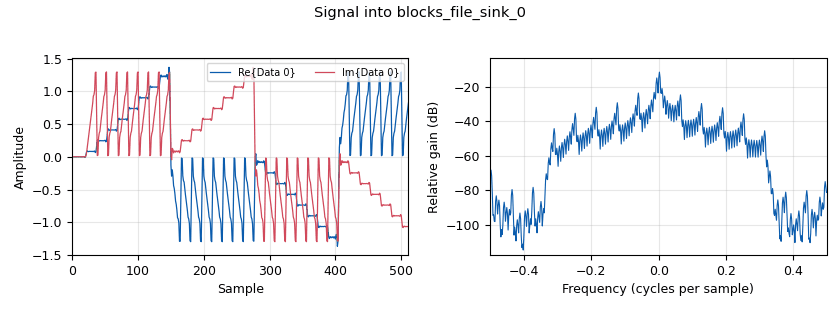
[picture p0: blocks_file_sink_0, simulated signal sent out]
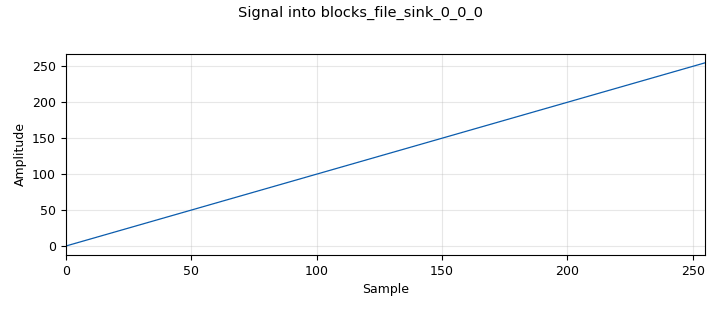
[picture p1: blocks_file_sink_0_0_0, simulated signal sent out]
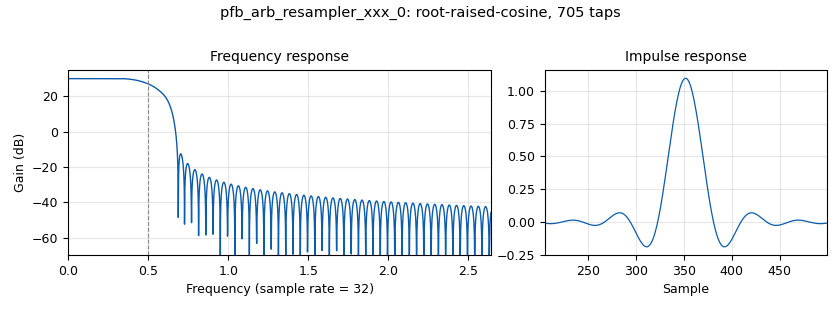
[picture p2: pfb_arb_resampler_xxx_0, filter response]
<?xml version='1.0' encoding='utf-8'?>
<?grc format='1' created='3.7.13'?>
<flow_graph>
<block>
<key>options</key>
<param><key>id</key><value>top_block</value></param>
<param><key>generate_options</key><value>no_gui</value></param>
<param><key>run_options</key><value>run</value></param>
</block>
<block>
<key>variable</key>
<param><key>id</key><value>exbw</value></param>
<param><key>value</key><value>.35</value></param>
</block>
<block>
<key>variable</key>
<param><key>id</key><value>fc</value></param>
<param><key>_enabled</key><value>0</value></param>
<param><key>value</key><value>10000</value></param>
</block>
<block>
<key>variable</key>
<param><key>id</key><value>my_const</value></param>
<param><key>_enabled</key><value>0</value></param>
<param><key>value</key><value>digital.qam_constellation(16).base()</value></param>
</block>
<block>
<key>variable</key>
<param><key>id</key><value>my_const</value></param>
<param><key>_enabled</key><value>0</value></param>
<param><key>value</key><value>digital.qam_constellation(64).base()</value></param>
</block>
<block>
<key>variable</key>
<param><key>id</key><value>my_const</value></param>
<param><key>value</key><value>digital.qam_constellation(256).base()</value></param>
</block>
<block>
<key>variable</key>
<param><key>id</key><value>my_const</value></param>
<param><key>_enabled</key><value>0</value></param>
<param><key>value</key><value>digital.qam_constellation(1024).base()</value></param>
</block>
<block>
<key>variable</key>
<param><key>id</key><value>nfilts</value></param>
<param><key>value</key><value>32</value></param>
</block>
<block>
<key>variable</key>
<param><key>id</key><value>ntaps</value></param>
<param><key>value</key><value>nfilts*11*sps</value></param>
</block>
<block>
<key>variable</key>
<param><key>id</key><value>rrc_taps</value></param>
<param><key>value</key><value>firdes.root_raised_cosine(nfilts,nfilts,1.0,exbw,ntaps)</value></param>
</block>
<block>
<key>variable</key>
<param><key>id</key><value>samp_rate</value></param>
<param><key>value</key><value>96000</value></param>
</block>
<block>
<key>variable</key>
<param><key>id</key><value>sps</value></param>
<param><key>value</key><value>2</value></param>
</block>
<block>
<key>analog_random_source_x</key>
<param><key>id</key><value>analog_random_source_x_0</value></param>
<param><key>_enabled</key><value>0</value></param>
<param><key>max</key><value>256</value></param>
<param><key>min</key><value>0</value></param>
<param><key>num_samps</key><value>1000000</value></param>
<param><key>type</key><value>byte</value></param>
<param><key>repeat</key><value>True</value></param>
</block>
<block>
<key>blocks_file_sink</key>
<param><key>id</key><value>blocks_file_sink_0</value></param>
<param><key>file</key><value>/home/magnus/out.bin</value></param>
<param><key>type</key><value>complex</value></param>
</block>
<block>
<key>blocks_file_sink</key>
<param><key>id</key><value>blocks_file_sink_0_0</value></param>
<param><key>file</key><value>/home/magnus/out2.bin</value></param>
<param><key>type</key><value>complex</value></param>
</block>
<block>
<key>blocks_file_sink</key>
<param><key>id</key><value>blocks_file_sink_0_0_0</value></param>
<param><key>file</key><value>/home/magnus/s0.bin</value></param>
<param><key>type</key><value>byte</value></param>
</block>
<block>
<key>blocks_file_sink</key>
<param><key>id</key><value>blocks_file_sink_0_0_1</value></param>
<param><key>file</key><value>/home/magnus/s3.bin</value></param>
<param><key>type</key><value>short</value></param>
</block>
<block>
<key>blocks_file_sink</key>
<param><key>id</key><value>blocks_file_sink_0_0_2</value></param>
<param><key>file</key><value>/home/magnus/s1.bin</value></param>
<param><key>type</key><value>short</value></param>
</block>
<block>
<key>blocks_head</key>
<param><key>id</key><value>blocks_head_0</value></param>
<param><key>num_items</key><value>2**my_const.bits_per_symbol()</value></param>
<param><key>type</key><value>byte</value></param>
</block>
<block>
<key>blocks_packed_to_unpacked_xx</key>
<param><key>id</key><value>blocks_packed_to_unpacked_xx_0</value></param>
<param><key>bits_per_chunk</key><value>my_const.bits_per_symbol()</value></param>
<param><key>endianness</key><value>gr.GR_MSB_FIRST</value></param>
<param><key>type</key><value>short</value></param>
</block>
<block>
<key>blocks_repack_bits_bb</key>
<param><key>id</key><value>blocks_repack_bits_bb_0</value></param>
<param><key>k</key><value>8</value></param>
<param><key>l</key><value>my_const.bits_per_symbol()</value></param>
<param><key>_enabled</key><value>0</value></param>
<param><key>endianness</key><value>gr.GR_LSB_FIRST</value></param>
</block>
<block>
<key>blocks_throttle</key>
<param><key>id</key><value>blocks_throttle_0</value></param>
<param><key>samples_per_second</key><value>samp_rate</value></param>
<param><key>type</key><value>complex</value></param>
</block>
<block>
<key>blocks_vector_source_x</key>
<param><key>id</key><value>blocks_vector_source_x_0</value></param>
<param><key>_enabled</key><value>0</value></param>
<param><key>type</key><value>byte</value></param>
<param><key>repeat</key><value>True</value></param>
<param><key>vector</key><value>range(256)</value></param>
</block>
<block>
<key>blocks_vector_source_x</key>
<param><key>id</key><value>blocks_vector_source_x_0_0</value></param>
<param><key>_enabled</key><value>0</value></param>
<param><key>type</key><value>byte</value></param>
<param><key>repeat</key><value>True</value></param>
<param><key>vector</key><value>range(128)</value></param>
</block>
<block>
<key>blocks_vector_source_x</key>
<param><key>id</key><value>blocks_vector_source_x_1</value></param>
<param><key>type</key><value>byte</value></param>
<param><key>repeat</key><value>True</value></param>
<param><key>vector</key><value>range(2**my_const.bits_per_symbol())</value></param>
</block>
<block>
<key>digital_chunks_to_symbols_xx</key>
<param><key>id</key><value>digital_chunks_to_symbols_xx_0</value></param>
<param><key>dimension</key><value>my_const.dimensionality()</value></param>
<param><key>in_type</key><value>short</value></param>
<param><key>out_type</key><value>complex</value></param>
<param><key>symbol_table</key><value>my_const.points()</value></param>
</block>
<block>
<key>digital_constellation_modulator</key>
<param><key>id</key><value>digital_constellation_modulator_0</value></param>
<param><key>constellation</key><value>my_const</value></param>
<param><key>differential</key><value>False</value></param>
<param><key>excess_bw</key><value>exbw</value></param>
<param><key>samples_per_symbol</key><value>sps</value></param>
</block>
<block>
<key>digital_diff_encoder_bb</key>
<param><key>id</key><value>digital_diff_encoder_bb_0</value></param>
<param><key>_enabled</key><value>0</value></param>
</block>
<block>
<key>digital_map_bb</key>
<param><key>id</key><value>digital_map_bb_0</value></param>
<param><key>_enabled</key><value>0</value></param>
</block>
<block>
<key>import</key>
<param><key>id</key><value>import_0</value></param>
<param><key>import</key><value>from gnuradio import digital</value></param>
</block>
<block>
<key>import</key>
<param><key>id</key><value>import_0_0</value></param>
<param><key>import</key><value>from math import pi</value></param>
</block>
<block>
<key>pfb_arb_resampler_xxx</key>
<param><key>id</key><value>pfb_arb_resampler_xxx_0</value></param>
<param><key>nfilts</key><value>nfilts</value></param>
<param><key>rrate</key><value>sps</value></param>
<param><key>atten</key><value>100</value></param>
<param><key>taps</key><value>rrc_taps</value></param>
<param><key>type</key><value>ccf</value></param>
</block>
<block>
<key>sapp_map_ss</key>
<param><key>id</key><value>sapp_map_ss_0</value></param>
<param><key>map</key><value>my_const.pre_diff_code()</value></param>
</block>
<block>
<key>sapp_map_ss</key>
<param><key>id</key><value>sapp_map_ss_0_0</value></param>
<param><key>_enabled</key><value>0</value></param>
<param><key>map</key><value>range(2**my_const.bits_per_symbol())</value></param>
</block>
<block>
<key>sapp_repack_2bs</key>
<param><key>id</key><value>sapp_repack_2bs_0</value></param>
<param><key>endianness</key><value>gr.GR_MSB_FIRST</value></param>
</block>
<block>
<key>sapp_repack_bits_ss</key>
<param><key>id</key><value>sapp_repack_bits_ss_0</value></param>
<param><key>k</key><value>8</value></param>
<param><key>l</key><value>my_const.bits_per_symbol()</value></param>
<param><key>_enabled</key><value>0</value></param>
<param><key>endianness</key><value>gr.GR_LSB_FIRST</value></param>
<param><key>len_tag_key</key><value>""</value></param>
<param><key>align_output</key><value>False</value></param>
</block>
<connection><source_block_id>analog_random_source_x_0</source_block_id><sink_block_id>blocks_head_0</sink_block_id><source_key>0</source_key><sink_key>0</sink_key></connection>
<connection><source_block_id>blocks_head_0</source_block_id><sink_block_id>blocks_file_sink_0_0_0</sink_block_id><source_key>0</source_key><sink_key>0</sink_key></connection>
<connection><source_block_id>blocks_head_0</source_block_id><sink_block_id>digital_constellation_modulator_0</sink_block_id><source_key>0</source_key><sink_key>0</sink_key></connection>
<connection><source_block_id>blocks_head_0</source_block_id><sink_block_id>sapp_repack_2bs_0</sink_block_id><source_key>0</source_key><sink_key>0</sink_key></connection>
<connection><source_block_id>blocks_packed_to_unpacked_xx_0</source_block_id><sink_block_id>blocks_file_sink_0_0_1</sink_block_id><source_key>0</source_key><sink_key>0</sink_key></connection>
<connection><source_block_id>blocks_packed_to_unpacked_xx_0</source_block_id><sink_block_id>sapp_map_ss_0</sink_block_id><source_key>0</source_key><sink_key>0</sink_key></connection>
<connection><source_block_id>blocks_packed_to_unpacked_xx_0</source_block_id><sink_block_id>sapp_map_ss_0_0</sink_block_id><source_key>0</source_key><sink_key>0</sink_key></connection>
<connection><source_block_id>blocks_repack_bits_bb_0</source_block_id><sink_block_id>digital_map_bb_0</sink_block_id><source_key>0</source_key><sink_key>0</sink_key></connection>
<connection><source_block_id>blocks_throttle_0</source_block_id><sink_block_id>blocks_file_sink_0</sink_block_id><source_key>0</source_key><sink_key>0</sink_key></connection>
<connection><source_block_id>blocks_vector_source_x_0</source_block_id><sink_block_id>digital_constellation_modulator_0</sink_block_id><source_key>0</source_key><sink_key>0</sink_key></connection>
<connection><source_block_id>blocks_vector_source_x_0_0</source_block_id><sink_block_id>digital_constellation_modulator_0</sink_block_id><source_key>0</source_key><sink_key>0</sink_key></connection>
<connection><source_block_id>blocks_vector_source_x_1</source_block_id><sink_block_id>blocks_head_0</sink_block_id><source_key>0</source_key><sink_key>0</sink_key></connection>
<connection><source_block_id>digital_chunks_to_symbols_xx_0</source_block_id><sink_block_id>pfb_arb_resampler_xxx_0</sink_block_id><source_key>0</source_key><sink_key>0</sink_key></connection>
<connection><source_block_id>digital_constellation_modulator_0</source_block_id><sink_block_id>blocks_throttle_0</sink_block_id><source_key>0</source_key><sink_key>0</sink_key></connection>
<connection><source_block_id>pfb_arb_resampler_xxx_0</source_block_id><sink_block_id>blocks_file_sink_0_0</sink_block_id><source_key>0</source_key><sink_key>0</sink_key></connection>
<connection><source_block_id>sapp_map_ss_0</source_block_id><sink_block_id>digital_chunks_to_symbols_xx_0</sink_block_id><source_key>0</source_key><sink_key>0</sink_key></connection>
<connection><source_block_id>sapp_map_ss_0_0</source_block_id><sink_block_id>digital_chunks_to_symbols_xx_0</sink_block_id><source_key>0</source_key><sink_key>0</sink_key></connection>
<connection><source_block_id>sapp_repack_2bs_0</source_block_id><sink_block_id>blocks_file_sink_0_0_2</sink_block_id><source_key>0</source_key><sink_key>0</sink_key></connection>
<connection><source_block_id>sapp_repack_2bs_0</source_block_id><sink_block_id>blocks_packed_to_unpacked_xx_0</sink_block_id><source_key>0</source_key><sink_key>0</sink_key></connection>
</flow_graph>
